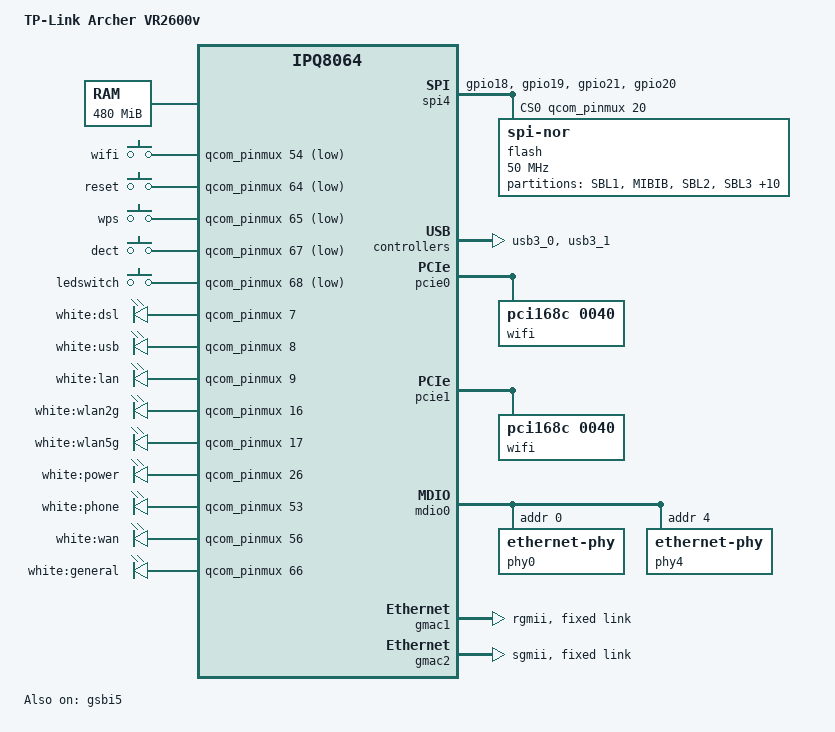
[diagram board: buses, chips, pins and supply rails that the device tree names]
#include "qcom-ipq8064-v2.0.dtsi"

#include <dt-bindings/input/input.h>

/ {
	model = "TP-Link Archer VR2600v";
	compatible = "tplink,vr2600v", "qcom,ipq8064";

	memory@0 {
		reg = <0x42000000 0x1e000000>;
		device_type = "memory";
	};

	aliases {
		mdio-gpio0 = &mdio0;

		led-boot = &power;
		led-failsafe = &general;
		led-running = &power;
		led-upgrade = &general;
	};

	keys {
		compatible = "gpio-keys";
		pinctrl-0 = <&button_pins>;
		pinctrl-names = "default";

		wifi {
			label = "wifi";
			gpios = <&qcom_pinmux 54 GPIO_ACTIVE_LOW>;
			linux,code = <KEY_RFKILL>;
			debounce-interval = <60>;
			wakeup-source;
		};

		reset {
			label = "reset";
			gpios = <&qcom_pinmux 64 GPIO_ACTIVE_LOW>;
			linux,code = <KEY_RESTART>;
			debounce-interval = <60>;
			wakeup-source;
		};

		wps {
			label = "wps";
			gpios = <&qcom_pinmux 65 GPIO_ACTIVE_LOW>;
			linux,code = <KEY_WPS_BUTTON>;
			debounce-interval = <60>;
			wakeup-source;
		};

		dect {
			label = "dect";
			gpios = <&qcom_pinmux 67 GPIO_ACTIVE_LOW>;
			linux,code = <KEY_PHONE>;
			debounce-interval = <60>;
			wakeup-source;
		};

		ledswitch {
			label = "ledswitch";
			gpios = <&qcom_pinmux 68 GPIO_ACTIVE_LOW>;
			linux,code = <KEY_LIGHTS_TOGGLE>;
			debounce-interval = <60>;
			wakeup-source;
		};
	};

	leds {
		compatible = "gpio-leds";
		pinctrl-0 = <&led_pins>;
		pinctrl-names = "default";

		dsl {
			label = "white:dsl";
			gpios = <&qcom_pinmux 7 GPIO_ACTIVE_HIGH>;
		};

		usb {
			label = "white:usb";
			gpios = <&qcom_pinmux 8 GPIO_ACTIVE_HIGH>;
		};

		lan {
			label = "white:lan";
			gpios = <&qcom_pinmux 9 GPIO_ACTIVE_HIGH>;
		};

		wlan2g {
			label = "white:wlan2g";
			gpios = <&qcom_pinmux 16 GPIO_ACTIVE_HIGH>;
		};

		wlan5g {
			label = "white:wlan5g";
			gpios = <&qcom_pinmux 17 GPIO_ACTIVE_HIGH>;
		};

		power: power {
			label = "white:power";
			gpios = <&qcom_pinmux 26 GPIO_ACTIVE_HIGH>;
			default-state = "keep";
		};

		phone {
			label = "white:phone";
			gpios = <&qcom_pinmux 53 GPIO_ACTIVE_HIGH>;
		};

		wan {
			label = "white:wan";
			gpios = <&qcom_pinmux 56 GPIO_ACTIVE_HIGH>;
		};

		general: general {
			label = "white:general";
			gpios = <&qcom_pinmux 66 GPIO_ACTIVE_HIGH>;
		};
	};
};

&qcom_pinmux {
	led_pins: led_pins {
		mux {
			pins = "gpio7", "gpio8", "gpio9", "gpio16", "gpio17",
				"gpio26", "gpio53", "gpio56", "gpio66";
			function = "gpio";
			drive-strength = <2>;
			bias-pull-up;
		};
	};

	button_pins: button_pins {
		mux {
			pins = "gpio54", "gpio64", "gpio65", "gpio67", "gpio68";
			function = "gpio";
			drive-strength = <2>;
			bias-pull-up;
		};
	};

	spi_pins: spi_pins {
		mux {
			pins = "gpio18", "gpio19", "gpio21";
			function = "gsbi5";
			bias-pull-down;
		};

		data {
			pins = "gpio18", "gpio19";
			drive-strength = <10>;
		};

		cs {
			pins = "gpio20";
			drive-strength = <10>;
			bias-pull-up;
		};

		clk {
			pins = "gpio21";
			drive-strength = <12>;
		};
	};
};

&gsbi5 {
	qcom,mode = <GSBI_PROT_SPI>;
	status = "okay";

	spi4: spi@1a280000 {
		status = "okay";

		pinctrl-0 = <&spi_pins>;
		pinctrl-names = "default";

		cs-gpios = <&qcom_pinmux 20 GPIO_ACTIVE_HIGH>;

		flash@0 {
			compatible = "jedec,spi-nor";
			#address-cells = <1>;
			#size-cells = <1>;
			spi-max-frequency = <50000000>;
			reg = <0>;

			partitions {
				compatible = "fixed-partitions";
				#address-cells = <1>;
				#size-cells = <1>;

				partition@0 {
					label = "SBL1";
					reg = <0x0 0x20000>;
					read-only;
				};

				partition@20000 {
					label = "MIBIB";
					reg = <0x20000 0x20000>;
					read-only;
				};

				partition@40000 {
					label = "SBL2";
					reg = <0x40000 0x40000>;
					read-only;
				};

				partition@80000 {
					label = "SBL3";
					reg = <0x80000 0x80000>;
					read-only;
				};

				partition@100000 {
					label = "DDRCONFIG";
					reg = <0x100000 0x10000>;
					read-only;
				};

				partition@110000 {
					label = "SSD";
					reg = <0x110000 0x10000>;
					read-only;
				};

				partition@120000 {
					label = "TZ";
					reg = <0x120000 0x80000>;
					read-only;
				};

				partition@1a0000 {
					label = "RPM";
					reg = <0x1a0000 0x80000>;
					read-only;
				};

				partition@220000 {
					label = "APPSBL";
					reg = <0x220000 0x80000>;
					read-only;
				};

				partition@2a0000 {
					label = "APPSBLENV";
					reg = <0x2a0000 0x40000>;
					read-only;
				};

				partition@2e0000 {
					label = "OLDART";
					reg = <0x2e0000 0x40000>;
					read-only;
				};

				partition@320000 {
					label = "firmware";
					reg = <0x320000 0xc60000>;
					compatible = "openwrt,uimage";
					openwrt,offset = <512>; /* account for pad-extra 512 */
				};

				/* hole 0xf80000 - 0xfaf100 */

				partition@faf100 {
					label = "default-mac";
					reg = <0xfaf100 0x00200>;
					read-only;

					compatible = "nvmem-cells";
					#address-cells = <1>;
					#size-cells = <1>;

					macaddr_defaultmac_0: macaddr@0 {
						reg = <0x0 0x6>;
					};
				};

				partition@fc0000 {
					label = "ART";
					reg = <0xfc0000 0x40000>;
					read-only;

					compatible = "nvmem-cells";
					#address-cells = <1>;
					#size-cells = <1>;

					precal_ART_1000: precal@1000 {
						reg = <0x1000 0x2f20>;
					};

					precal_ART_5000: precal@5000 {
						reg = <0x5000 0x2f20>;
					};
				};
			};
		};
	};
};

&usb3_0 {
	status = "okay";
};

&usb3_1 {
	status = "okay";
};

&pcie0 {
	status = "okay";

	bridge@0,0 {
		reg = <0x00000000 0 0 0 0>;
		#address-cells = <3>;
		#size-cells = <2>;
		ranges;

		wifi@1,0 {
			compatible = "pci168c,0040";
			reg = <0x00010000 0 0 0 0>;

			nvmem-cells = <&macaddr_defaultmac_0>, <&precal_ART_1000>;
			nvmem-cell-names = "mac-address", "pre-calibration";
			mac-address-increment = <(-1)>;
		};
	};
};

&pcie1 {
	status = "okay";
	max-link-speed = <1>;

	bridge@0,0 {
		reg = <0x00000000 0 0 0 0>;
		#address-cells = <3>;
		#size-cells = <2>;
		ranges;

		wifi@1,0 {
			compatible = "pci168c,0040";
			reg = <0x00010000 0 0 0 0>;

			nvmem-cells = <&macaddr_defaultmac_0>, <&precal_ART_5000>;
			nvmem-cell-names = "mac-address", "pre-calibration";
		};
	};
};

&mdio0 {
	status = "okay";

	pinctrl-0 = <&mdio0_pins>;
	pinctrl-names = "default";

	phy0: ethernet-phy@0 {
		reg = <0>;
		qca,ar8327-initvals = <
			0x00004 0x7600000   /* PAD0_MODE */
			0x00008 0x1000000   /* PAD5_MODE */
			0x0000c 0x80        /* PAD6_MODE */
			0x000e4 0x6a545     /* MAC_POWER_SEL */
			0x000e0 0xc74164de  /* SGMII_CTRL */
			0x0007c 0x4e        /* PORT0_STATUS */
			0x00094 0x4e        /* PORT6_STATUS */
			>;
	};

	phy4: ethernet-phy@4 {
		reg = <4>;
	};
};

&gmac1 {
	status = "okay";
	phy-mode = "rgmii";
	qcom,id = <1>;

	pinctrl-0 = <&rgmii2_pins>;
	pinctrl-names = "default";

	nvmem-cells = <&macaddr_defaultmac_0>;
	nvmem-cell-names = "mac-address";
	mac-address-increment = <1>;

	fixed-link {
		speed = <1000>;
		full-duplex;
	};
};

&gmac2 {
	status = "okay";
	phy-mode = "sgmii";
	qcom,id = <2>;

	nvmem-cells = <&macaddr_defaultmac_0>;
	nvmem-cell-names = "mac-address";

	fixed-link {
		speed = <1000>;
		full-duplex;
	};
};

&adm_dma {
	status = "okay";
};
